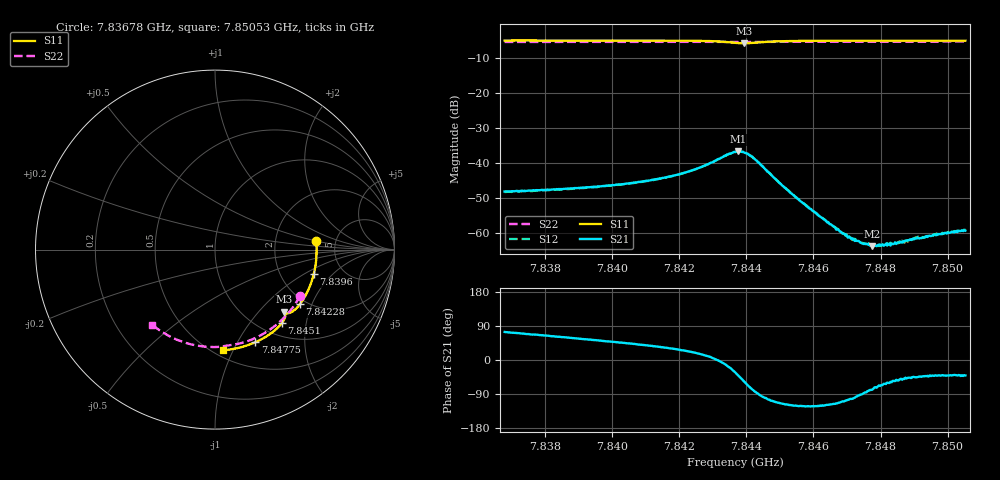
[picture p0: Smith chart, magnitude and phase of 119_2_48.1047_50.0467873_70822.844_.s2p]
#  HZ  S  RI  R  50.00
! Rohde & Schwarz Vector Network Analyzer
! Rohde-Schwarz,ZNB20-2Port,1311601062101988,3.16
! Created: UTC 12/23/2023, 3:46:34 AM
! freq[Hz]  re:S11  im:S11  re:S21  im:S21  re:S12  im:S12  re:S22  im:S22
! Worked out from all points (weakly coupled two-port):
!   401 points, 7.83678 GHz to 7.85053 GHz, reference 50 ohm
!   highest |S21| = -36.67 dB at 7.84376 GHz (marker M1); lowest = -63.8 dB at 7.84775 GHz (marker M2)
!   lowest |S11| = -5.7 dB at 7.84393 GHz (marker M3), VSWR 3.14, Z = 73.3 - j69.2 ohm
!   |S11| at or under -10 dB: nowhere
!   |S22| runs from -5.4 to -5.3 dB; largest |S21 - S12| = 0.00034
!   S11 on the Smith chart (normalised r, x): 7.83678 GHz: 3.53, +0.52; 7.8396 GHz: 3.07, -1.24; 7.84228 GHz: 1.84, -1.64; 7.8451 GHz: 1.24, -1.46; 7.84775 GHz: 0.79, -1.19; 7.85053 GHz: 0.56, -0.92
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7.836784e9  0.5638 0.0498  0.00107 0.00376  0.00109 0.00371  0.4743 -0.257
7.839087e9  0.5575 -0.1028  0.00251 0.00366  0.00247 0.0036  0.3783 -0.3857
7.839603e9  0.5502 -0.1367  0.00288 0.00364  0.00284 0.0036  0.3516 -0.4104
7.84139e9  0.5073 -0.2504  0.00492 0.0034  0.00488 0.0034  0.2482 -0.4809
7.842284e9  0.473 -0.3047  0.00702 0.00292  0.00699 0.00292  0.1908 -0.5067
7.843143e9  0.4238 -0.3492  0.0114 -9.61e-05  0.0112 -4.27e-06  0.1329 -0.5241
7.843659e9  0.3876 -0.3534  0.0122 -0.00765  0.0121 -0.00762  0.0985 -0.5301
7.843762e9  0.3839 -0.3507  0.011 -0.00966  0.011 -0.00956  0.0917 -0.5312
7.843934e9  0.3832 -0.3464  0.00772 -0.0119  0.00777 -0.0119  0.0811 -0.5329
7.844243e9  0.3907 -0.3528  0.00137 -0.0114  0.00153 -0.0113  0.0611 -0.5368
7.845102e9  0.373 -0.4088  -0.00203 -0.00416  -0.00204 -0.0042  0.00113 -0.5427
7.845961e9  0.3298 -0.4528  -0.00111 -0.00178  -0.00112 -0.00181  -0.0595 -0.5404
7.846889e9  0.2772 -0.4892  -0.000326 -0.000931  -0.00035 -0.000929  -0.124 -0.5301
7.847371e9  0.2486 -0.5047  -3.84e-05 -0.000753  -2.12e-05 -0.000743  -0.1566 -0.5216
7.847749e9  0.2255 -0.5158  0.000129 -0.000635  0.000125 -0.000669  -0.1819 -0.5136
7.847955e9  0.2127 -0.5212  0.000266 -0.000631  0.00023 -0.000609  -0.1955 -0.5086
7.848264e9  0.1935 -0.5287  0.00034 -0.000605  0.000343 -0.000591  -0.2158 -0.5006
7.848745e9  0.1629 -0.5389  0.000534 -0.00056  0.00053 -0.000558  -0.2465 -0.4866
7.849055e9  0.1432 -0.5444  0.000583 -0.000601  0.000615 -0.000609  -0.2656 -0.4765
7.849227e9  0.1318 -0.5471  0.000603 -0.00059  0.000614 -0.000585  -0.2762 -0.4705
7.850017e9  0.0802 -0.5568  0.000765 -0.000656  0.000796 -0.000658  -0.3227 -0.4405
7.850533e9  0.0463 -0.5605  0.000817 -0.000706  0.000837 -0.00072  -0.3512 -0.4184
